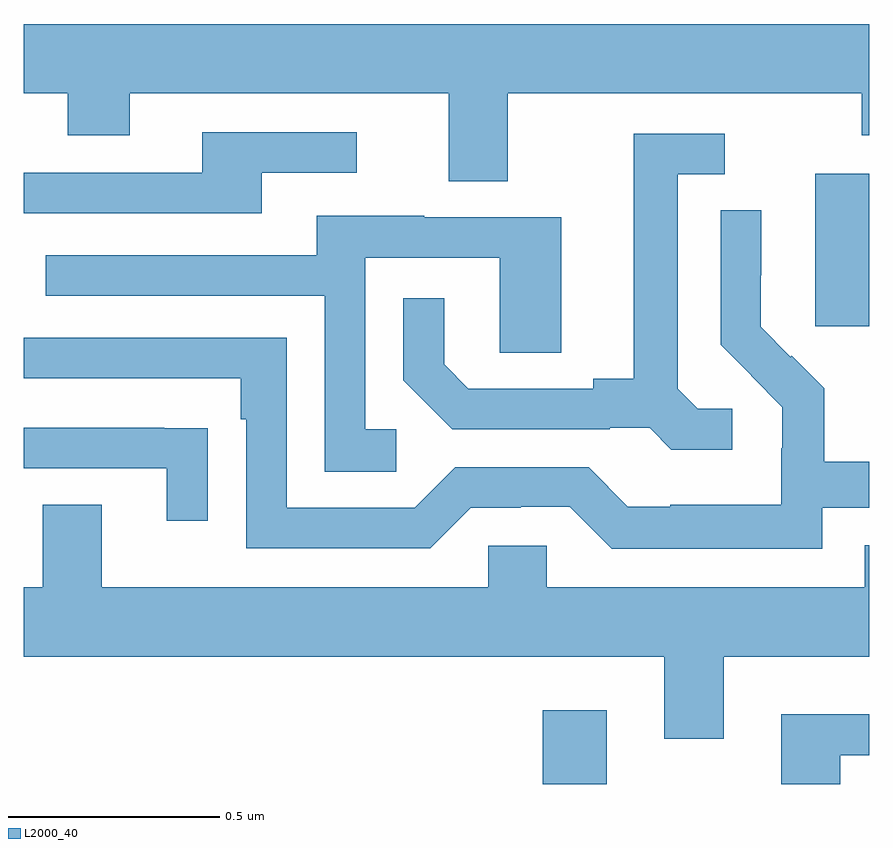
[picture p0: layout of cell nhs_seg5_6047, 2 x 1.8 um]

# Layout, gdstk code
import gdstk
lib = gdstk.Library(unit=1e-6, precision=1e-09)
def R(c, l, rs):  # rectangles x0, y0, x1, y1
    for r in rs: c.add(gdstk.rectangle(r[:2], r[2:], *l))
def P(c, l, *ps):  # polygons
    for p in ps: c.add(gdstk.Polygon(p, *l))
L2000_40 = (2000, 40)

nhs_seg5_6047 = lib.new_cell('nhs_seg5_6047')
R(nhs_seg5_6047, L2000_40, [(192.227,849.799,192.379,849.973), (192.872,850.881,193,851.242)])
P(nhs_seg5_6047, L2000_40, [(192.145,851.432),(192.982,851.432),(192.982,851.333),(193,851.333),(193,851.596),(191,851.596),(191,851.432),(191.104,851.432),(191.104,851.333),(191.251,851.333),(191.251,851.432),(192.005,851.432),(192.005,851.224),(192.145,851.224)],
  [(191.563,851.244),(191.788,851.244),(191.788,851.34),(191.423,851.34),(191.423,851.244),(191,851.244),(191,851.148),(191.563,851.148)],
  [(192.676,850.686),(192.594,850.686),(192.547,850.733),(192.547,851.241),(192.658,851.241),(192.658,851.337),(192.443,851.337),(192.443,850.757),(192.347,850.757),(192.347,850.734),(192.052,850.734),(191.995,850.791),(191.995,850.948),(191.898,850.948),(191.898,850.754),(192.014,850.638),(192.386,850.638),(192.386,850.641),(192.48,850.641),(192.532,850.589),(192.676,850.589)],
  [(192.888,850.452),(193,850.452),(193,850.561),(192.893,850.561),(192.893,850.735),(192.816,850.812),(192.813,850.809),(192.743,850.88),(192.743,851.002),(192.744,851.002),(192.744,851.156),(192.648,851.156),(192.648,850.838),(192.721,850.765),(192.72,850.764),(192.794,850.69),(192.794,850.593),(192.792,850.593),(192.792,850.459),(192.529,850.459),(192.529,850.455),(192.429,850.455),(192.336,850.548),(192.021,850.548),(191.925,850.452),(191.622,850.452),(191.622,850.854),(191,850.854),(191,850.758),(191.513,850.758),(191.513,850.661),(191.526,850.661),(191.526,850.356),(191.961,850.356),(192.057,850.452),(192.176,850.452),(192.176,850.455),(192.291,850.455),(192.391,850.355),(192.888,850.355)],
  [(191.881,850.638),(191.808,850.638),(191.808,851.043),(192.126,851.043),(192.126,850.819),(192.271,850.819),(192.271,851.139),(191.947,851.139),(191.947,851.143),(191.693,851.143),(191.693,851.049),(191.053,851.049),(191.053,850.953),(191.712,850.953),(191.712,850.537),(191.881,850.537)],
  [(191.435,850.64),(191.333,850.64),(191.333,850.641),(191,850.641),(191,850.545),(191.339,850.545),(191.339,850.422),(191.435,850.422)],
  [(191.045,850.459),(191.045,850.264),(191,850.264),(191,850.1),(192.515,850.1),(192.515,849.906),(192.655,849.906),(192.655,850.1),(193,850.1),(193,850.363),(192.989,850.363),(192.989,850.264),(192.237,850.264),(192.237,850.362),(192.099,850.362),(192.099,850.264),(191.185,850.264),(191.185,850.459)],
  [(192.931,849.867),(193,849.867),(193,849.964),(192.791,849.964),(192.791,849.799),(192.931,849.799)])

lib.write_gds('nhs_seg5_6047.gds')
